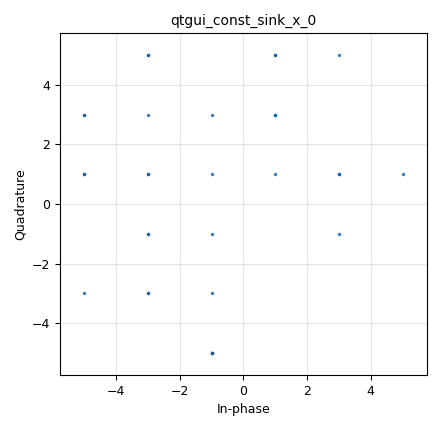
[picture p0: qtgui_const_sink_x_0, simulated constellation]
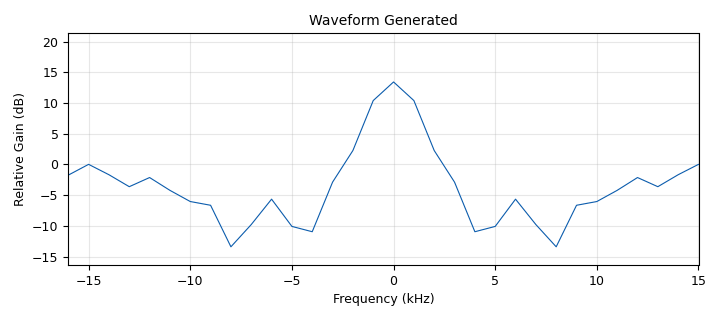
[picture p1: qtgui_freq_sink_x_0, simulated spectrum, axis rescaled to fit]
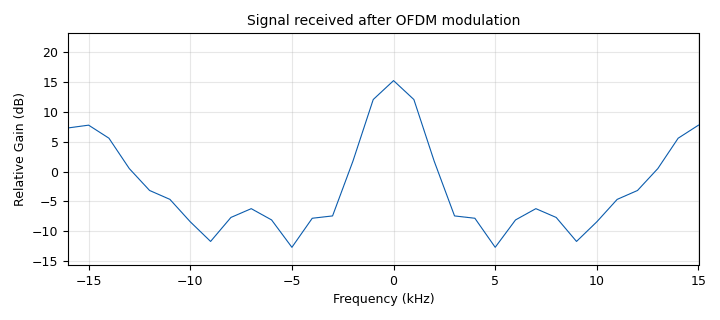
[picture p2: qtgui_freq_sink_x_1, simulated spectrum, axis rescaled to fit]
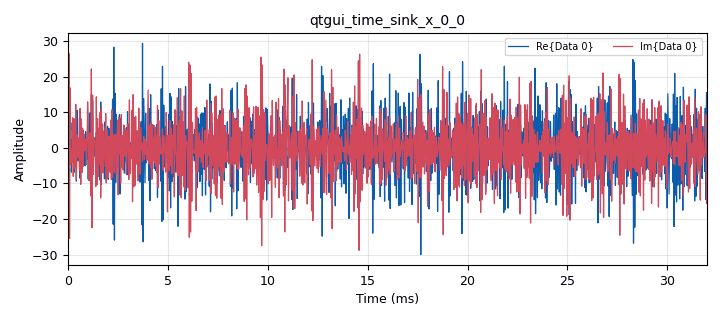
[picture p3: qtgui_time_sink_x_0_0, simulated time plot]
options:
  parameters:
    author: zhn
    generate_options: qt_gui
    id: OFDM_2
    output_language: python
    title: Not titled yet
  states: {}

blocks:
- name: QAM16
  id: variable_constellation
  parameters:
    const_points: ' [(-3-3j), (-1-3j), (1-3j), (3-3j), (-3-1j), (-1-1j), (1-1j), (3-1j), (-3+1j), (-1+1j), (1+1j), (3+1j), (-3+3j), (-1+3j), (1+3j), (3+3j)]'
    dims: '1'
    normalization: digital.constellation.NO_NORMALIZATION
    precision: '8'
    rot_sym: '4'
    sym_map: '[0, 4, 12, 8, 1, 5, 13, 9, 3, 7, 15, 11, 2, 6, 14, 10]'
    type: calcdist
  states: {}
- name: QAM256
  id: variable_constellation
  parameters:
    const_points: |-
      [-15+15j,-15+13j,-15+9j,-15+11j,-15+1j,-15+3j,-15+7j,-15+5j,-15-15j,-15-13j,-15-9j,-15-11j,-15-1j,-15-3j,-15-7j,-15-5j,-13+15j,-13+13j,-13+9j,-13+11j,-13+1j,-13+3j,-13+7j,-13+5j,-13-15j,-13-13j,-13-9j,-13-11j,-13-1j,-13-3j,-13-7j,-13-5j,-9+15j,-9+13j,-9+9j,-9+11j,-9+1j,-9+3j,-9+7j,-9+5j,-9-15j,-9-13j,-9-9j,-9-11j,-9-1j,-9-3j,-9-7j,-9-5j,-11+15j,-11+13j,-11+9j,-11+11j,-11+1j,-11+3j,-11+7j,-11+5j,-11-15j,-11-13j,-11-9j,-11-11j,-11-1j,-11-3j,-11-7j,-11-5j,-1+15j,-1+13j,-1+9j,-1+11j,-1+1j,-1+3j,-1+7j,-1+5j,-1-15j,-1-13j,-1-9j,-1-11j,-1-1j,-1-3j,-1-7j,-1-5j,-3+15j,-3+13j,-3+9j,-3+11j,-3+1j,-3+3j,-3+7j,-3+5j,-3-15j,-3-13j,-3-9j,-3-11j,-3-1j,-3-3j,-3-7j,-3-5j,-7+15j,-7+13j,-7+9j,-7+11j,-7+1j,-7+3j,-7+7j,-7+5j,-7-15j,-7-13j,-7-9j,-7-11j,-7-1j,-7-3j,-7-7j,-7-5j,-5+15j,-5+13j,-5+9j,-5+11j,-5+1j,-5+3j,-5+7j,-5+5j,-5-15j,-5-13j,-5-9j,-5-11j,-5-1j,-5-3j,-5-7j,-5-5j,15+15j,15+13j,15+9j,15+11j,15+1j,15+3j,15+7j,15+5j,15-15j,15-13j,15-9j,15-11j,15-1j,15-3j,15-7j,15-5j,13+15j,13+13j,13+9j,13+11j,13+1j,13+3j,13+7j,13+5j,13-15j,13-13j,13-9j,13-11j,13-1j,13-3j,13-7j,13-5j,9+15j,9+13j,9+9j,9+11j,9+1j,9+3j,9+7j,9+5j,9-15j,9-13j,9-9j,9-11j,9-1j,9-3j,9-7j,9-5j,11+15j,11+13j,11+9j,11+11j,11+1j,11+3j,11+7j,11+5j,11-15j,11-13j,11-9j,11-11j,11-1j,11-3j,11-7j,11-5j,1+15j,1+13j,1+9j,1+11j,1+1j,1+3j,1+7j,1+5j,1-15j,1-13j,1-9j,1-11j,1-1j,1-3j,1-7j,1-5j,3+15j,3+13j,3+9j,3+11j,3+1j,3+3j,3+7j,3+5j,3-15j,3-13j,3-9j,3-11j,3-1j,3-3j,3-7j,3-5j,7+15j,7+13j,7+9j,7+11j,7+1j,7+3j,7+7j,7+5j,7-15j,7-13j,7-9j,7-11j,7-1j,7-3j,7-7j,7-5j,5+15j,5+13j,5+9j,5+11j,5+1j,5+3j,5+7j,5+5j,5-15j,5-13j,5-9j,5-11j,5-1j,5-3j,5-7j,5-5j
      ]
    dims: '1'
    normalization: digital.constellation.AMPLITUDE_NORMALIZATION
    precision: '8'
    rot_sym: '4'
    sym_map: '[0,1,2,3,4,5,6,7,8,9,10,11,12,13,14,15,16,17,18,19,20,21,22,23,24,25,26,27,28,29,30,31,32,33,34,35,36,37,38,39,40,41,42,43,44,45,46,47,48,49,50,51,52,53,54,55,56,57,58,59,60,61,62,63,64,65,66,67,68,69,70,71,72,73,74,75,76,77,78,79,80,81,82,83,84,85,86,87,88,89,90,91,92,93,94,95,96,97,98,99,100,101,102,103,104,105,106,107,108,109,110,111,112,113,114,115,116,117,118,119,120,121,122,123,124,125,126,127,128,129,130,131,132,133,134,135,136,137,138,139,140,141,142,143,144,145,146,147,148,149,150,151,152,153,154,155,156,157,158,159,160,161,162,163,164,165,166,167,168,169,170,171,172,173,174,175,176,177,178,179,180,181,182,183,184,185,186,187,188,189,190,191,192,193,194,195,196,197,198,199,200,201,202,203,204,205,206,207,208,209,210,211,212,213,214,215,216,217,218,219,220,221,222,223,224,225,226,227,228,229,230,231,232,233,234,235,236,237,238,239,240,241,242,243,244,245,246,247,248,249,250,251,252,253,254,255]'
    type: calcdist
  states: {}
- name: QAM32
  id: variable_constellation
  parameters:
    const_points: |-
      [-3+5j,-1+5j,-1-5j,-3-5j,-5+3j,-5+1j,-5-1j,-5-3j,-3+3j,-3+1j,-3-1j,-3-3j,-1+3j,-1+1j,-1-1j,-1-3j,1+3j,1+1j,1-1j,1-3j,3+3j,3+1j,3-1j,3-3j,5+3j,5+1j,5-1j,5-3j,3+5j,1+5j,1-5j,3-5j
      ]
    dims: '1'
    normalization: digital.constellation.NO_NORMALIZATION
    precision: '8'
    rot_sym: '4'
    sym_map: '[0,1,3,2,4,5,7,6,12,13,15,14,8,9,11,10,28,29,31,30,24,25,27,26,16,17,19,18,20,21,23,22]'
    type: calcdist
  states: {}
- name: fft_len
  id: variable
  parameters:
    value: '32'
  states: {}
- name: samp_rate
  id: variable
  parameters:
    value: '32000'
  states: {}
- name: analog_random_source_x_0
  id: analog_random_source_x
  parameters:
    max: fft_len
    min: '0'
    num_samps: fft_len*1000
    repeat: 'True'
    type: byte
  states: {}
- name: blocks_stream_to_vector_0_0
  id: blocks_stream_to_vector
  parameters:
    num_items: fft_len
    type: complex
  states: {}
- name: blocks_stream_to_vector_0_0_0
  id: blocks_stream_to_vector
  parameters:
    num_items: fft_len
    type: complex
  states: {}
- name: blocks_throttle_0
  id: blocks_throttle
  parameters:
    samples_per_second: samp_rate
    type: byte
  states: {}
- name: blocks_uchar_to_float_0
  id: blocks_uchar_to_float
  parameters: {}
  states: {}
- name: blocks_uchar_to_float_0_0
  id: blocks_uchar_to_float
  parameters: {}
  states: {}
- name: blocks_vector_to_stream_0
  id: blocks_vector_to_stream
  parameters:
    num_items: fft_len
    type: complex
  states: {}
- name: blocks_vector_to_stream_0_0
  id: blocks_vector_to_stream
  parameters:
    num_items: fft_len
    type: complex
  states: {}
- name: digital_constellation_decoder_cb_0
  id: digital_constellation_decoder_cb
  parameters:
    constellation: QAM32
  states: {}
- name: digital_constellation_encoder_bc_0
  id: digital_constellation_encoder_bc
  parameters:
    constellation: QAM32
  states: {}
- name: fft_vxx_1_0
  id: fft_vxx
  parameters:
    fft_size: fft_len
    forward: 'False'
    shift: 'False'
    type: complex
    window: window.blackmanharris(fft_len)
  states: {}
- name: fft_vxx_1_0_0
  id: fft_vxx
  parameters:
    fft_size: fft_len
    forward: 'True'
    shift: 'False'
    type: complex
    window: window.blackmanharris(fft_len)
  states: {}
- name: qtgui_const_sink_x_0
  id: qtgui_const_sink_x
  parameters:
    autoscale: 'True'
    grid: 'True'
    size: fft_len
    type: complex
  states: {}
- name: qtgui_freq_sink_x_0
  id: qtgui_freq_sink_x
  parameters:
    bw: samp_rate
    fc: '0'
    fftsize: fft_len
    name: Waveform Generated
    type: float
  states: {}
- name: qtgui_freq_sink_x_1
  id: qtgui_freq_sink_x
  parameters:
    bw: samp_rate
    fc: '0'
    fftsize: fft_len
    name: 'Signal received after OFDM modulation '
    type: float
  states: {}
- name: qtgui_time_sink_x_0_0
  id: qtgui_time_sink_x
  parameters:
    autoscale: 'True'
    size: '1024'
    srate: samp_rate
    type: complex
  states: {}
- name: virtual_sink_0
  id: virtual_sink
  parameters:
    stream_id: OFDM_Signal
  states: {}
- name: virtual_source_0
  id: virtual_source
  parameters:
    stream_id: OFDM_Signal
  states: {}

connections:
- [analog_random_source_x_0, '0', blocks_throttle_0, '0']
- [blocks_stream_to_vector_0_0, '0', fft_vxx_1_0_0, '0']
- [blocks_stream_to_vector_0_0_0, '0', fft_vxx_1_0, '0']
- [blocks_throttle_0, '0', blocks_uchar_to_float_0_0, '0']
- [blocks_throttle_0, '0', digital_constellation_encoder_bc_0, '0']
- [blocks_uchar_to_float_0, '0', qtgui_freq_sink_x_1, '0']
- [blocks_uchar_to_float_0_0, '0', qtgui_freq_sink_x_0, '0']
- [blocks_vector_to_stream_0, '0', digital_constellation_decoder_cb_0, '0']
- [blocks_vector_to_stream_0_0, '0', qtgui_time_sink_x_0_0, '0']
- [blocks_vector_to_stream_0_0, '0', virtual_sink_0, '0']
- [digital_constellation_decoder_cb_0, '0', blocks_uchar_to_float_0, '0']
- [digital_constellation_encoder_bc_0, '0', blocks_stream_to_vector_0_0_0, '0']
- [digital_constellation_encoder_bc_0, '0', qtgui_const_sink_x_0, '0']
- [fft_vxx_1_0, '0', blocks_vector_to_stream_0_0, '0']
- [fft_vxx_1_0_0, '0', blocks_vector_to_stream_0, '0']
- [virtual_source_0, '0', blocks_stream_to_vector_0_0, '0']

metadata:
  file_format: 1
